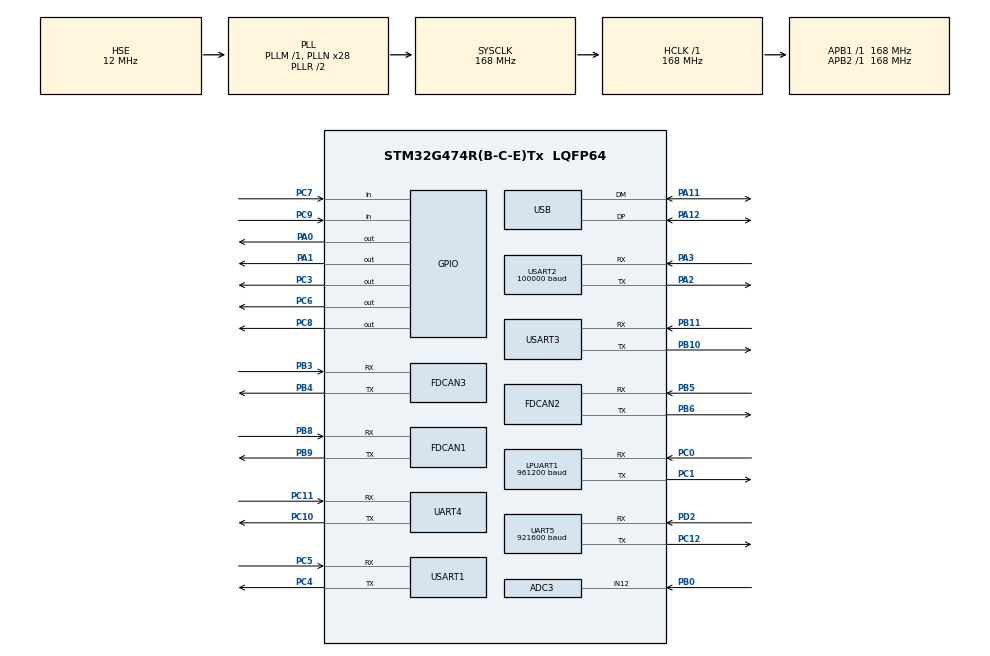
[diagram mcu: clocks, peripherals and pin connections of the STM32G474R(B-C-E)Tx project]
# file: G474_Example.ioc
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ADC1.Channel-0\#ChannelRegularConversion=ADC_CHANNEL_15
ADC1.ContinuousConvMode=DISABLE
ADC1.EnableAnalogWatchDog3=false
ADC1.NbrOfConversionFlag=1
ADC1.OffsetNumber-0\#ChannelRegularConversion=ADC_OFFSET_NONE
ADC1.Rank-0\#ChannelRegularConversion=1
ADC1.SamplingTime-0\#ChannelRegularConversion=ADC_SAMPLETIME_247CYCLES_5
ADC1.master=1
ADC3.Channel-0\#ChannelRegularConversion=ADC_CHANNEL_12
ADC3.ContinuousConvMode=DISABLE
ADC3.DMAContinuousRequests=ENABLE
ADC3.GainCompensation=0
ADC3.NbrOfConversionFlag=1
ADC3.OffsetNumber-0\#ChannelRegularConversion=ADC_OFFSET_NONE
ADC3.OversamplingMode=DISABLE
ADC3.Rank-0\#ChannelRegularConversion=1
ADC3.SamplingTime-0\#ChannelRegularConversion=ADC_SAMPLETIME_640CYCLES_5
ADC3.master=1
Dma.ADC3.10.Direction=DMA_PERIPH_TO_MEMORY
Dma.ADC3.10.EventEnable=DISABLE
Dma.ADC3.10.Instance=DMA2_Channel3
Dma.ADC3.10.MemDataAlignment=DMA_MDATAALIGN_HALFWORD
Dma.ADC3.10.MemInc=DMA_MINC_ENABLE
Dma.ADC3.10.Mode=DMA_CIRCULAR
Dma.ADC3.10.PeriphDataAlignment=DMA_PDATAALIGN_HALFWORD
Dma.ADC3.10.PeriphInc=DMA_PINC_DISABLE
Dma.ADC3.10.Polarity=HAL_DMAMUX_REQ_GEN_RISING
Dma.ADC3.10.Priority=DMA_PRIORITY_LOW
Dma.ADC3.10.RequestNumber=1
Dma.ADC3.10.SignalID=NONE
Dma.ADC3.10.SyncEnable=DISABLE
Dma.ADC3.10.SyncPolarity=HAL_DMAMUX_SYNC_NO_EVENT
Dma.ADC3.10.SyncRequestNumber=1
Dma.ADC3.10.SyncSignalID=NONE
Dma.LPUART1_RX.8.Direction=DMA_PERIPH_TO_MEMORY
Dma.LPUART1_RX.8.EventEnable=DISABLE
Dma.LPUART1_RX.8.Instance=DMA2_Channel1
Dma.LPUART1_RX.8.MemDataAlignment=DMA_MDATAALIGN_BYTE
Dma.LPUART1_RX.8.MemInc=DMA_MINC_ENABLE
Dma.LPUART1_RX.8.Mode=DMA_NORMAL
Dma.LPUART1_RX.8.PeriphDataAlignment=DMA_PDATAALIGN_BYTE
Dma.LPUART1_RX.8.PeriphInc=DMA_PINC_DISABLE
Dma.LPUART1_RX.8.Polarity=HAL_DMAMUX_REQ_GEN_RISING
Dma.LPUART1_RX.8.Priority=DMA_PRIORITY_LOW
Dma.LPUART1_RX.8.RequestNumber=1
Dma.LPUART1_RX.8.SignalID=NONE
Dma.LPUART1_RX.8.SyncEnable=DISABLE
Dma.LPUART1_RX.8.SyncPolarity=HAL_DMAMUX_SYNC_NO_EVENT
Dma.LPUART1_RX.8.SyncRequestNumber=1
Dma.LPUART1_RX.8.SyncSignalID=NONE
Dma.LPUART1_TX.9.Direction=DMA_MEMORY_TO_PERIPH
Dma.LPUART1_TX.9.EventEnable=DISABLE
Dma.LPUART1_TX.9.Instance=DMA2_Channel2
Dma.LPUART1_TX.9.MemDataAlignment=DMA_MDATAALIGN_BYTE
Dma.LPUART1_TX.9.MemInc=DMA_MINC_ENABLE
Dma.LPUART1_TX.9.Mode=DMA_NORMAL
Dma.LPUART1_TX.9.PeriphDataAlignment=DMA_PDATAALIGN_BYTE
Dma.LPUART1_TX.9.PeriphInc=DMA_PINC_DISABLE
Dma.LPUART1_TX.9.Polarity=HAL_DMAMUX_REQ_GEN_RISING
Dma.LPUART1_TX.9.Priority=DMA_PRIORITY_LOW
Dma.LPUART1_TX.9.RequestNumber=1
Dma.LPUART1_TX.9.SignalID=NONE
Dma.LPUART1_TX.9.SyncEnable=DISABLE
Dma.LPUART1_TX.9.SyncPolarity=HAL_DMAMUX_SYNC_NO_EVENT
Dma.LPUART1_TX.9.SyncRequestNumber=1
Dma.LPUART1_TX.9.SyncSignalID=NONE
Dma.Request0=USART3_RX
Dma.Request1=UART5_RX
Dma.Request10=ADC3
Dma.Request2=USART2_RX
Dma.Request3=USART1_RX
Dma.Request4=USART1_TX
Dma.Request5=UART4_TX
Dma.Request6=UART4_RX
Dma.Request7=USART3_TX
Dma.Request8=LPUART1_RX
Dma.Request9=LPUART1_TX
Dma.UART4_RX.6.Direction=DMA_PERIPH_TO_MEMORY
Dma.UART4_RX.6.EventEnable=DISABLE
Dma.UART4_RX.6.Instance=DMA1_Channel8
Dma.UART4_RX.6.MemDataAlignment=DMA_MDATAALIGN_BYTE
Dma.UART4_RX.6.MemInc=DMA_MINC_ENABLE
Dma.UART4_RX.6.Mode=DMA_NORMAL
Dma.UART4_RX.6.PeriphDataAlignment=DMA_PDATAALIGN_BYTE
Dma.UART4_RX.6.PeriphInc=DMA_PINC_DISABLE
Dma.UART4_RX.6.Polarity=HAL_DMAMUX_REQ_GEN_RISING
Dma.UART4_RX.6.Priority=DMA_PRIORITY_LOW
Dma.UART4_RX.6.RequestNumber=1
Dma.UART4_RX.6.SignalID=NONE
Dma.UART4_RX.6.SyncEnable=DISABLE
Dma.UART4_RX.6.SyncPolarity=HAL_DMAMUX_SYNC_NO_EVENT
Dma.UART4_RX.6.SyncRequestNumber=1
Dma.UART4_RX.6.SyncSignalID=NONE
Dma.UART4_TX.5.Direction=DMA_MEMORY_TO_PERIPH
Dma.UART4_TX.5.EventEnable=DISABLE
Dma.UART4_TX.5.Instance=DMA1_Channel7
Dma.UART4_TX.5.MemDataAlignment=DMA_MDATAALIGN_BYTE
Dma.UART4_TX.5.MemInc=DMA_MINC_ENABLE
Dma.UART4_TX.5.Mode=DMA_NORMAL
Dma.UART4_TX.5.PeriphDataAlignment=DMA_PDATAALIGN_BYTE
Dma.UART4_TX.5.PeriphInc=DMA_PINC_DISABLE
Dma.UART4_TX.5.Polarity=HAL_DMAMUX_REQ_GEN_RISING
Dma.UART4_TX.5.Priority=DMA_PRIORITY_LOW
Dma.UART4_TX.5.RequestNumber=1
Dma.UART4_TX.5.SignalID=NONE
Dma.UART4_TX.5.SyncEnable=DISABLE
Dma.UART4_TX.5.SyncPolarity=HAL_DMAMUX_SYNC_NO_EVENT
Dma.UART4_TX.5.SyncRequestNumber=1
Dma.UART4_TX.5.SyncSignalID=NONE
Dma.UART5_RX.1.Direction=DMA_PERIPH_TO_MEMORY
Dma.UART5_RX.1.EventEnable=DISABLE
Dma.UART5_RX.1.Instance=DMA1_Channel3
Dma.UART5_RX.1.MemDataAlignment=DMA_MDATAALIGN_BYTE
Dma.UART5_RX.1.MemInc=DMA_MINC_ENABLE
Dma.UART5_RX.1.Mode=DMA_NORMAL
Dma.UART5_RX.1.PeriphDataAlignment=DMA_PDATAALIGN_BYTE
Dma.UART5_RX.1.PeriphInc=DMA_PINC_DISABLE
Dma.UART5_RX.1.Polarity=HAL_DMAMUX_REQ_GEN_RISING
Dma.UART5_RX.1.Priority=DMA_PRIORITY_LOW
Dma.UART5_RX.1.RequestNumber=1
Dma.UART5_RX.1.SignalID=NONE
Dma.UART5_RX.1.SyncEnable=DISABLE
Dma.UART5_RX.1.SyncPolarity=HAL_DMAMUX_SYNC_NO_EVENT
Dma.UART5_RX.1.SyncRequestNumber=1
Dma.UART5_RX.1.SyncSignalID=NONE
Dma.USART1_RX.3.Direction=DMA_PERIPH_TO_MEMORY
Dma.USART1_RX.3.EventEnable=DISABLE
Dma.USART1_RX.3.Instance=DMA1_Channel5
Dma.USART1_RX.3.MemDataAlignment=DMA_MDATAALIGN_BYTE
Dma.USART1_RX.3.MemInc=DMA_MINC_ENABLE
Dma.USART1_RX.3.Mode=DMA_NORMAL
Dma.USART1_RX.3.PeriphDataAlignment=DMA_PDATAALIGN_BYTE
Dma.USART1_RX.3.PeriphInc=DMA_PINC_DISABLE
Dma.USART1_RX.3.Polarity=HAL_DMAMUX_REQ_GEN_RISING
Dma.USART1_RX.3.Priority=DMA_PRIORITY_LOW
Dma.USART1_RX.3.RequestNumber=1
Dma.USART1_RX.3.SignalID=NONE
Dma.USART1_RX.3.SyncEnable=DISABLE
Dma.USART1_RX.3.SyncPolarity=HAL_DMAMUX_SYNC_NO_EVENT
Dma.USART1_RX.3.SyncRequestNumber=1
Dma.USART1_RX.3.SyncSignalID=NONE
Dma.USART1_TX.4.Direction=DMA_MEMORY_TO_PERIPH
Dma.USART1_TX.4.EventEnable=DISABLE
Dma.USART1_TX.4.Instance=DMA1_Channel6
Dma.USART1_TX.4.MemDataAlignment=DMA_MDATAALIGN_BYTE
Dma.USART1_TX.4.MemInc=DMA_MINC_ENABLE
Dma.USART1_TX.4.Mode=DMA_NORMAL
Dma.USART1_TX.4.PeriphDataAlignment=DMA_PDATAALIGN_BYTE
Dma.USART1_TX.4.PeriphInc=DMA_PINC_DISABLE
Dma.USART1_TX.4.Polarity=HAL_DMAMUX_REQ_GEN_RISING
Dma.USART1_TX.4.Priority=DMA_PRIORITY_LOW
Dma.USART1_TX.4.RequestNumber=1
Dma.USART1_TX.4.SignalID=NONE
Dma.USART1_TX.4.SyncEnable=DISABLE
Dma.USART1_TX.4.SyncPolarity=HAL_DMAMUX_SYNC_NO_EVENT
Dma.USART1_TX.4.SyncRequestNumber=1
Dma.USART1_TX.4.SyncSignalID=NONE
Dma.USART2_RX.2.Direction=DMA_PERIPH_TO_MEMORY
Dma.USART2_RX.2.EventEnable=DISABLE
Dma.USART2_RX.2.Instance=DMA1_Channel4
Dma.USART2_RX.2.MemDataAlignment=DMA_MDATAALIGN_BYTE
Dma.USART2_RX.2.MemInc=DMA_MINC_ENABLE
Dma.USART2_RX.2.Mode=DMA_NORMAL
Dma.USART2_RX.2.PeriphDataAlignment=DMA_PDATAALIGN_BYTE
Dma.USART2_RX.2.PeriphInc=DMA_PINC_DISABLE
Dma.USART2_RX.2.Polarity=HAL_DMAMUX_REQ_GEN_RISING
Dma.USART2_RX.2.Priority=DMA_PRIORITY_LOW
Dma.USART2_RX.2.RequestNumber=1
Dma.USART2_RX.2.SignalID=NONE
Dma.USART2_RX.2.SyncEnable=DISABLE
Dma.USART2_RX.2.SyncPolarity=HAL_DMAMUX_SYNC_NO_EVENT
Dma.USART2_RX.2.SyncRequestNumber=1
Dma.USART2_RX.2.SyncSignalID=NONE
Dma.USART3_RX.0.Direction=DMA_PERIPH_TO_MEMORY
Dma.USART3_RX.0.EventEnable=DISABLE
Dma.USART3_RX.0.Instance=DMA1_Channel1
Dma.USART3_RX.0.MemDataAlignment=DMA_MDATAALIGN_BYTE
Dma.USART3_RX.0.MemInc=DMA_MINC_ENABLE
Dma.USART3_RX.0.Mode=DMA_NORMAL
Dma.USART3_RX.0.PeriphDataAlignment=DMA_PDATAALIGN_BYTE
Dma.USART3_RX.0.PeriphInc=DMA_PINC_DISABLE
Dma.USART3_RX.0.Polarity=HAL_DMAMUX_REQ_GEN_RISING
Dma.USART3_RX.0.Priority=DMA_PRIORITY_LOW
Dma.USART3_RX.0.RequestNumber=1
Dma.USART3_RX.0.SignalID=NONE
Dma.USART3_RX.0.SyncEnable=DISABLE
Dma.USART3_RX.0.SyncPolarity=HAL_DMAMUX_SYNC_NO_EVENT
Dma.USART3_RX.0.SyncRequestNumber=1
Dma.USART3_RX.0.SyncSignalID=NONE
Dma.USART3_TX.7.Direction=DMA_MEMORY_TO_PERIPH
Dma.USART3_TX.7.EventEnable=DISABLE
Dma.USART3_TX.7.Instance=DMA1_Channel2
Dma.USART3_TX.7.MemDataAlignment=DMA_MDATAALIGN_BYTE
Dma.USART3_TX.7.MemInc=DMA_MINC_ENABLE
Dma.USART3_TX.7.Mode=DMA_NORMAL
Dma.USART3_TX.7.PeriphDataAlignment=DMA_PDATAALIGN_BYTE
Dma.USART3_TX.7.PeriphInc=DMA_PINC_DISABLE
Dma.USART3_TX.7.Polarity=HAL_DMAMUX_REQ_GEN_RISING
Dma.USART3_TX.7.Priority=DMA_PRIORITY_LOW
Dma.USART3_TX.7.RequestNumber=1
Dma.USART3_TX.7.SignalID=NONE
Dma.USART3_TX.7.SyncEnable=DISABLE
Dma.USART3_TX.7.SyncPolarity=HAL_DMAMUX_SYNC_NO_EVENT
Dma.USART3_TX.7.SyncRequestNumber=1
Dma.USART3_TX.7.SyncSignalID=NONE
FDCAN1.AutoRetransmission=DISABLE
FDCAN1.CalculateBaudRateNominal=1000000
FDCAN1.CalculateTimeBitNominal=1000
FDCAN1.CalculateTimeQuantumNominal=35.714285714285715
FDCAN1.DataPrescaler=6
FDCAN1.DataSyncJumpWidth=6
FDCAN1.DataTimeSeg1=20
FDCAN1.DataTimeSeg2=7
FDCAN1.NominalPrescaler=6
FDCAN1.NominalSyncJumpWidth=6
FDCAN1.NominalTimeSeg1=20
FDCAN1.NominalTimeSeg2=7
FDCAN1.ProtocolException=DISABLE
FDCAN1.StdFiltersNbr=1
FDCAN1.TransmitPause=ENABLE
FDCAN2.AutoRetransmission=DISABLE
FDCAN2.CalculateBaudRateNominal=1000000
FDCAN2.CalculateTimeBitNominal=1000
FDCAN2.CalculateTimeQuantumNominal=35.714285714285715
FDCAN2.DataPrescaler=6
FDCAN2.DataSyncJumpWidth=6
FDCAN2.DataTimeSeg1=20
FDCAN2.DataTimeSeg2=7
FDCAN2.NominalPrescaler=6
FDCAN2.NominalSyncJumpWidth=6
FDCAN2.NominalTimeSeg1=20
FDCAN2.NominalTimeSeg2=7
FDCAN2.ProtocolException=DISABLE
FDCAN2.StdFiltersNbr=1
FDCAN2.TransmitPause=ENABLE
FDCAN3.AutoRetransmission=DISABLE
FDCAN3.CalculateBaudRateNominal=1000000
FDCAN3.CalculateTimeBitNominal=1000
FDCAN3.CalculateTimeQuantumNominal=35.714285714285715
FDCAN3.DataPrescaler=6
FDCAN3.DataSyncJumpWidth=6
FDCAN3.DataTimeSeg1=20
FDCAN3.DataTimeSeg2=7
FDCAN3.NominalPrescaler=6
FDCAN3.NominalSyncJumpWidth=6
FDCAN3.NominalTimeSeg1=20
FDCAN3.NominalTimeSeg2=7
FDCAN3.StdFiltersNbr=1
FDCAN3.TransmitPause=ENABLE
FREERTOS.INCLUDE_eTaskGetState=1
FREERTOS.INCLUDE_pcTaskGetTaskName=1
FREERTOS.INCLUDE_uxTaskGetStackHighWaterMark=1
FREERTOS.INCLUDE_uxTaskGetStackHighWaterMark2=1
FREERTOS.INCLUDE_vTaskCleanUpResources=1
FREERTOS.INCLUDE_vTaskDelayUntil=1
FREERTOS.INCLUDE_xEventGroupSetBitFromISR=1
FREERTOS.INCLUDE_xQueueGetMutexHolder=1
FREERTOS.INCLUDE_xSemaphoreGetMutexHolder=1
FREERTOS.INCLUDE_xTaskAbortDelay=1
FREERTOS.INCLUDE_xTaskGetCurrentTaskHandle=1
FREERTOS.INCLUDE_xTaskGetHandle=1
FREERTOS.INCLUDE_xTimerPendFunctionCall=1
FREERTOS.Tasks01=Judge_Task,8,128,JudgeTask,Default,NULL,Dynamic,NULL,NULL;Init_Task,8,256,InitTask,Default,NULL,Dynamic,NULL,NULL;Ctrl_Task,8,256,CtrlTask,Default,NULL,Dynamic,NULL,NULL;Interact_Task,8,256,InteractTask,Default,NULL,Dynamic,NULL,NULL;Reset_Task,8,128,ResetTask,Default,NULL,Dynamic,NULL,NULL
FREERTOS.configTOTAL_HEAP_SIZE=15360
FREERTOS.configUSE_TIMERS=1
LPUART1.BaudRate=961200
Mcu.Family=STM32G4
Mcu.Name=STM32G474R(B-C-E)Tx
Mcu.Package=LQFP64
NVIC.DMA1_Channel1_IRQn=true\:5\:0\:false\:false\:true\:true\:false\:true\:true
NVIC.DMA1_Channel2_IRQn=true\:5\:0\:false\:false\:true\:true\:false\:true\:true
NVIC.DMA1_Channel3_IRQn=true\:5\:0\:false\:false\:true\:true\:false\:true\:true
NVIC.DMA1_Channel4_IRQn=true\:5\:0\:false\:false\:true\:true\:false\:true\:true
NVIC.DMA1_Channel5_IRQn=true\:5\:0\:false\:false\:true\:true\:false\:true\:true
NVIC.DMA1_Channel6_IRQn=true\:5\:0\:false\:false\:true\:true\:false\:true\:true
NVIC.DMA1_Channel7_IRQn=true\:5\:0\:true\:false\:true\:false\:false\:true\:true
NVIC.DMA1_Channel8_IRQn=true\:5\:0\:true\:false\:true\:false\:false\:true\:true
NVIC.DMA2_Channel1_IRQn=true\:5\:0\:false\:false\:true\:true\:false\:true\:true
NVIC.DMA2_Channel2_IRQn=true\:5\:0\:false\:false\:true\:true\:false\:true\:true
NVIC.FDCAN1_IT0_IRQn=true\:5\:0\:false\:false\:true\:true\:true\:true\:true
NVIC.FDCAN2_IT0_IRQn=true\:5\:0\:false\:false\:true\:true\:true\:true\:true
NVIC.FDCAN3_IT0_IRQn=true\:5\:0\:false\:false\:true\:true\:true\:true\:true
NVIC.LPUART1_IRQn=true\:5\:0\:false\:false\:true\:true\:true\:true\:true
NVIC.PriorityGroup=NVIC_PRIORITYGROUP_4
NVIC.TIM4_IRQn=true\:5\:0\:false\:false\:true\:true\:true\:true\:true
NVIC.TIM6_DAC_IRQn=true\:15\:0\:false\:false\:true\:false\:false\:true\:true
NVIC.TimeBase=TIM6_DAC_IRQn
NVIC.TimeBaseIP=TIM6
NVIC.UART4_IRQn=true\:5\:0\:true\:false\:true\:false\:true\:true\:true
NVIC.UART5_IRQn=true\:5\:0\:false\:false\:true\:true\:true\:true\:true
NVIC.USART1_IRQn=true\:5\:0\:false\:false\:true\:true\:true\:true\:true
NVIC.USART2_IRQn=true\:5\:0\:false\:false\:true\:true\:true\:true\:true
NVIC.USART3_IRQn=true\:5\:0\:false\:false\:true\:true\:true\:true\:true
NVIC.USB_LP_IRQn=true\:5\:0\:false\:false\:true\:true\:false\:true\:true
PA0.PinState=GPIO_PIN_SET
PA0.Signal=GPIO_Output
PA1.PinState=GPIO_PIN_SET
PA1.Signal=GPIO_Output
PA11.Mode=Device
PA11.Signal=USB_DM
PA12.Mode=Device
PA12.Signal=USB_DP
PA13.Mode=Serial_Wire
PA13.Signal=SYS_JTMS-SWDIO
PA14.Mode=Serial_Wire
PA14.Signal=SYS_JTCK-SWCLK
PA2.Mode=Asynchronous
PA2.Signal=USART2_TX
PA3.Mode=Asynchronous
PA3.Signal=USART2_RX
PB0.Signal=SharedAnalog_PB0
PB10.Mode=Asynchronous
PB10.Signal=USART3_TX
PB11.Mode=Asynchronous
PB11.Signal=USART3_RX
PB3.Mode=FDCAN_Activate
PB3.Signal=FDCAN3_RX
PB4.Mode=FDCAN_Activate
PB4.Signal=FDCAN3_TX
PB5.Mode=FDCAN_Activate
PB5.Signal=FDCAN2_RX
PB6.Mode=FDCAN_Activate
PB6.Signal=FDCAN2_TX
PB8-BOOT0.Mode=FDCAN_Activate
PB8-BOOT0.Signal=FDCAN1_RX
PB9.Mode=FDCAN_Activate
PB9.Signal=FDCAN1_TX
PC0.Mode=Asynchronous
PC0.Signal=LPUART1_RX
PC1.Mode=Asynchronous
PC1.Signal=LPUART1_TX
PC10.Mode=Asynchronous
PC10.Signal=UART4_TX
PC11.Mode=Asynchronous
PC11.Signal=UART4_RX
PC12.Mode=Asynchronous
PC12.Signal=UART5_TX
PC3.PinState=GPIO_PIN_SET
PC3.Signal=GPIO_Output
PC4.Mode=Asynchronous
PC4.Signal=USART1_TX
PC5.Mode=Asynchronous
PC5.Signal=USART1_RX
PC6.GPIO_PuPd=GPIO_PULLUP
PC6.PinState=GPIO_PIN_SET
PC6.Signal=GPIO_Output
PC7.GPIO_PuPd=GPIO_PULLDOWN
PC7.Signal=GPIO_Input
PC8.GPIO_PuPd=GPIO_PULLUP
PC8.PinState=GPIO_PIN_SET
PC8.Signal=GPIO_Output
PC9.GPIO_PuPd=GPIO_PULLDOWN
PC9.Signal=GPIO_Input
PD2.Mode=Asynchronous
PD2.Signal=UART5_RX
PF0-OSC_IN.Mode=HSE-External-Oscillator
PF0-OSC_IN.Signal=RCC_OSC_IN
PF1-OSC_OUT.Mode=HSE-External-Oscillator
PF1-OSC_OUT.Signal=RCC_OSC_OUT
ProjectManager.HeapSize=0x400
ProjectManager.StackSize=0x1000
ProjectManager.TargetToolchain=MDK-ARM V5.32
RCC.ADC12Freq_Value=168000000
RCC.ADC345Freq_Value=168000000
RCC.AHBFreq_Value=168000000
RCC.APB1Freq_Value=168000000
RCC.APB1TimFreq_Value=168000000
RCC.APB2Freq_Value=168000000
RCC.APB2TimFreq_Value=168000000
RCC.CK48CLockSelection=RCC_USBCLKSOURCE_HSI48
RCC.CortexFreq_Value=168000000
RCC.EXTERNAL_CLOCK_VALUE=12288000
RCC.HCLKFreq_Value=168000000
RCC.HSE_VALUE=12000000
RCC.HSI48_VALUE=48000000
RCC.HSI_VALUE=16000000
RCC.LSE_VALUE=32768
RCC.PLLN=28
RCC.PLLSourceVirtual=RCC_PLLSOURCE_HSE
RCC.SYSCLKFreq_VALUE=168000000
RCC.SYSCLKSource=RCC_SYSCLKSOURCE_PLLCLK
RCC.USBFreq_Value=48000000
RCC.VCOOutputFreq_Value=336000000
SH.SharedAnalog_PB0.0=ADC3_IN12,IN12-Single-Ended
SH.SharedAnalog_PB0.1=ADC1_IN15,IN15-Single-Ended
STMicroelectronics.X-CUBE-ALGOBUILD.1.4.0.LibraryCcDSPOoLibraryJjDSPOoLibrary=true
TIM4.AutoReloadPreload=TIM_AUTORELOAD_PRELOAD_ENABLE
TIM4.PeriodNoDither=1000-1
TIM4.Prescaler=168-1
UART4.DMADisableonRxErrorParam=UART_ADVFEATURE_DMA_ENABLEONRXERROR
UART4.OverrunDisableParam=UART_ADVFEATURE_OVERRUN_ENABLE
UART5.BaudRate=921600
UART5.DMADisableonRxErrorParam=UART_ADVFEATURE_DMA_DISABLEONRXERROR
UART5.OverrunDisableParam=UART_ADVFEATURE_OVERRUN_DISABLE
USART1.DMADisableonRxErrorParam=ADVFEATURE_DMA_DISABLEONRXERROR
USART1.OverrunDisableParam=ADVFEATURE_OVERRUN_DISABLE
USART1.VirtualMode-Asynchronous=VM_ASYNC
USART2.BaudRate=100000
USART2.DMADisableonRxErrorParam=ADVFEATURE_DMA_DISABLEONRXERROR
USART2.OverrunDisableParam=ADVFEATURE_OVERRUN_DISABLE
USART2.Parity=PARITY_EVEN
USART2.VirtualMode-Asynchronous=VM_ASYNC
USART2.WordLength=WORDLENGTH_9B
USART3.DMADisableonRxErrorParam=ADVFEATURE_DMA_DISABLEONRXERROR
USART3.OverrunDisableParam=ADVFEATURE_OVERRUN_DISABLE
USART3.VirtualMode-Asynchronous=VM_ASYNC
USB_DEVICE.CLASS_NAME_FS=CDC
USB_DEVICE.VirtualMode=Cdc
USB_DEVICE.VirtualModeFS=Cdc_FS
VP_FREERTOS_VS_CMSIS_V2.Mode=CMSIS_V2
VP_STMicroelectronics.X-CUBE-ALGOBUILD_VS_DSPOoLibraryJjLibrary_1.4.0_1.4.0.Mode=DSPOoLibraryJjLibrary
VP_SYS_VS_DBSignals.Mode=DisableDeadBatterySignals
VP_SYS_VS_tim6.Mode=TIM6
VP_TIM4_VS_ClockSourceINT.Mode=Internal
VP_USB_DEVICE_VS_USB_DEVICE_CDC_FS.Mode=CDC_FS
board=custom

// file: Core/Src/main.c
/* USER CODE BEGIN Header */
/**
  ******************************************************************************
  * @file           : main.c
  * @brief          : Main program body
  ******************************************************************************
  * @attention
  *
  * Copyright (c) 2025 STMicroelectronics.
  * All rights reserved.
  *
  * This software is licensed under terms that can be found in the LICENSE file
  * in the root directory of this software component.
  * If no LICENSE file comes with this software, it is provided AS-IS.
  *
  ******************************************************************************
  */
/* USER CODE END Header */
#include "main.h"
#include "cmsis_os.h"
#include "adc.h"
#include "dma.h"
#include "fdcan.h"
#include "usart.h"
#include "tim.h"
#include "usb_device.h"
#include "gpio.h"

void SystemClock_Config(void);
void MX_FREERTOS_Init(void);

int main(void)
{

  /* MCU Configuration--------------------------------------------------------*/

  /* Reset of all peripherals, Initializes the Flash interface and the Systick. */
  HAL_Init();

  /* Configure the system clock */
  SystemClock_Config();

  /* Initialize all configured peripherals */
  MX_GPIO_Init();
  MX_DMA_Init();
  MX_FDCAN1_Init();
  MX_FDCAN2_Init();
  MX_FDCAN3_Init();
  MX_UART4_Init();
  MX_UART5_Init();
  MX_USART1_UART_Init();
  MX_USART2_UART_Init();
  MX_USART3_UART_Init();
  MX_TIM4_Init();
  MX_LPUART1_UART_Init();
  MX_ADC3_Init();
  MX_ADC1_Init();

  /* Init scheduler */
  osKernelInitialize();

  /* Call init function for freertos objects (in cmsis_os2.c) */
  MX_FREERTOS_Init();

  /* Start scheduler */
  osKernelStart();

  /* We should never get here as control is now taken by the scheduler */

  /* Infinite loop */
  while (1)
  {

  }
}

void SystemClock_Config(void)
{
  RCC_OscInitTypeDef RCC_OscInitStruct = {0};
  RCC_ClkInitTypeDef RCC_ClkInitStruct = {0};

  /** Configure the main internal regulator output voltage
  */
  HAL_PWREx_ControlVoltageScaling(PWR_REGULATOR_VOLTAGE_SCALE1_BOOST);

  /** Initializes the RCC Oscillators according to the specified parameters
  * in the RCC_OscInitTypeDef structure.
  */
  RCC_OscInitStruct.OscillatorType = RCC_OSCILLATORTYPE_HSI48|RCC_OSCILLATORTYPE_HSE;
  RCC_OscInitStruct.HSEState = RCC_HSE_ON;
  RCC_OscInitStruct.HSI48State = RCC_HSI48_ON;
  RCC_OscInitStruct.PLL.PLLState = RCC_PLL_ON;
  RCC_OscInitStruct.PLL.PLLSource = RCC_PLLSOURCE_HSE;
  RCC_OscInitStruct.PLL.PLLM = RCC_PLLM_DIV1;
  RCC_OscInitStruct.PLL.PLLN = 28;
  RCC_OscInitStruct.PLL.PLLP = RCC_PLLP_DIV2;
  RCC_OscInitStruct.PLL.PLLQ = RCC_PLLQ_DIV2;
  RCC_OscInitStruct.PLL.PLLR = RCC_PLLR_DIV2;
  if (HAL_RCC_OscConfig(&RCC_OscInitStruct) != HAL_OK)
  {
    Error_Handler();
  }

  /** Initializes the CPU, AHB and APB buses clocks
  */
  RCC_ClkInitStruct.ClockType = RCC_CLOCKTYPE_HCLK|RCC_CLOCKTYPE_SYSCLK
                              |RCC_CLOCKTYPE_PCLK1|RCC_CLOCKTYPE_PCLK2;
  RCC_ClkInitStruct.SYSCLKSource = RCC_SYSCLKSOURCE_PLLCLK;
  RCC_ClkInitStruct.AHBCLKDivider = RCC_SYSCLK_DIV1;
  RCC_ClkInitStruct.APB1CLKDivider = RCC_HCLK_DIV1;
  RCC_ClkInitStruct.APB2CLKDivider = RCC_HCLK_DIV1;

  if (HAL_RCC_ClockConfig(&RCC_ClkInitStruct, FLASH_LATENCY_4) != HAL_OK)
  {
    Error_Handler();
  }
}

void HAL_TIM_PeriodElapsedCallback(TIM_HandleTypeDef *htim)
{
  if (htim->Instance == TIM6) {
    HAL_IncTick();
  }
}

void Error_Handler(void)
{
  __disable_irq();
  while (1)
  {
  }
}

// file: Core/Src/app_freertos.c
/* USER CODE BEGIN Header */
/**
  ******************************************************************************
  * File Name          : app_freertos.c
  * Description        : Code for freertos applications
  ******************************************************************************
  * @attention
  *
  * Copyright (c) 2025 STMicroelectronics.
  * All rights reserved.
  *
  * This software is licensed under terms that can be found in the LICENSE file
  * in the root directory of this software component.
  * If no LICENSE file comes with this software, it is provided AS-IS.
  *
  ******************************************************************************
  */
/* USER CODE END Header */

#include "FreeRTOS.h"
#include "task.h"
#include "main.h"
#include "cmsis_os.h"

/* USER CODE BEGIN Includes */
#include "CanBus_Task.h"
#include "CapInteract.h"
#include "ControlTask.h"
#include "fdcan.h"
#include "RcTask.h"
#include "UI.h"
#include "usb_device.h"
#include "Vision_interact.h"
/* USER CODE END Includes */

/* Definitions for Judge_Task */
osThreadId_t Judge_TaskHandle;
const osThreadAttr_t Judge_Task_attributes = {
  .name = "Judge_Task",
  .priority = (osPriority_t) osPriorityLow,
  .stack_size = 128 * 4
};
/* Definitions for Init_Task */
osThreadId_t Init_TaskHandle;
const osThreadAttr_t Init_Task_attributes = {
  .name = "Init_Task",
  .priority = (osPriority_t) osPriorityLow,
  .stack_size = 256 * 4
};
/* Definitions for Ctrl_Task */
osThreadId_t Ctrl_TaskHandle;
const osThreadAttr_t Ctrl_Task_attributes = {
  .name = "Ctrl_Task",
  .priority = (osPriority_t) osPriorityLow,
  .stack_size = 256 * 4
};
/* Definitions for Interact_Task */
osThreadId_t Interact_TaskHandle;
const osThreadAttr_t Interact_Task_attributes = {
  .name = "Interact_Task",
  .priority = (osPriority_t) osPriorityLow,
  .stack_size = 256 * 4
};
/* Definitions for Reset_Task */
osThreadId_t Reset_TaskHandle;
const osThreadAttr_t Reset_Task_attributes = {
  .name = "Reset_Task",
  .priority = (osPriority_t) osPriorityLow,
  .stack_size = 128 * 4
};

void JudgeTask(void *argument);
void InitTask(void *argument);
void CtrlTask(void *argument);
void InteractTask(void *argument);
void ResetTask(void *argument);

void MX_FREERTOS_Init(void); /* (MISRA C 2004 rule 8.1) */

void MX_FREERTOS_Init(void) {

  /* Create the thread(s) */
  /* creation of Judge_Task */
  Judge_TaskHandle = osThreadNew(JudgeTask, NULL, &Judge_Task_attributes);

  /* creation of Init_Task */
  Init_TaskHandle = osThreadNew(InitTask, NULL, &Init_Task_attributes);

  /* creation of Ctrl_Task */
  Ctrl_TaskHandle = osThreadNew(CtrlTask, NULL, &Ctrl_Task_attributes);

  /* creation of Interact_Task */
  Interact_TaskHandle = osThreadNew(InteractTask, NULL, &Interact_Task_attributes);

  /* creation of Reset_Task */
  Reset_TaskHandle = osThreadNew(ResetTask, NULL, &Reset_Task_attributes);

}

void JudgeTask(void *argument)
{
  /* init code for USB_Device */
  MX_USB_Device_Init();
  /* USER CODE BEGIN JudgeTask */
  /* Infinite loop */
  for(;;)
  {
    // UI_ALL_Task();
    MiniPC_SendVisionFrameInfo(&MiniPC_SendPacket);
    osDelay(1);
  }
  /* USER CODE END JudgeTask */
}

void InitTask(void *argument)
{
  /* USER CODE BEGIN InitTask */
  /* Infinite loop */
  for(;;)
  {
    TotalInitTask();
    osDelay(1);
    osThreadTerminate(Init_TaskHandle);//结束初始化
  }
  /* USER CODE END InitTask */
}

void CtrlTask(void *argument)
{
  /* USER CODE BEGIN CtrlTask */
  /* Infinite loop */
  for(;;)
  {
    TotalControl();

    osDelay(1);
  }
  /* USER CODE END CtrlTask */
}

void InteractTask(void *argument)
{
  /* USER CODE BEGIN InteractTask */
  /* Infinite loop */
  for(;;)
  {
    //

    MotorCanSendCurrent();
    // static uint8_t _cnt=0;
    // if(_cnt++ > 10) {
      PowerSend();
    //   _cnt=0;
    // }
    // set_DM_J4310_motor_State(&hfdcan3, xMotorParam[YAW].ID, save_zero_point);
    // set_DM_J4310_motor_State(&hfdcan3, xMotorParam[PITCH].ID, save_zero_point);
    // set_DM_J4310_motor_State(&hfdcan3, xMotorParam[YAW].ID, enable);
    // set_DM_J4310_MIT_info(&hfdcan3, xMotorParam[YAW].ID, 0.0f, 0.0f, 0.0f, 0.0f, 5);
    //

    osDelay(1);
  }
  /* USER CODE END InteractTask */
}

void ResetTask(void *argument)
{
  /* USER CODE BEGIN ResetTask */
  /* Infinite loop */
  for(;;)
  {
    MotorWatchdogMonitor();
    UI_ALL_Task();
    if (KEY_CTRL+KEY_R) {
      ALL_reset(0);
    }

    osDelay(1);
  }
  /* USER CODE END ResetTask */
}
